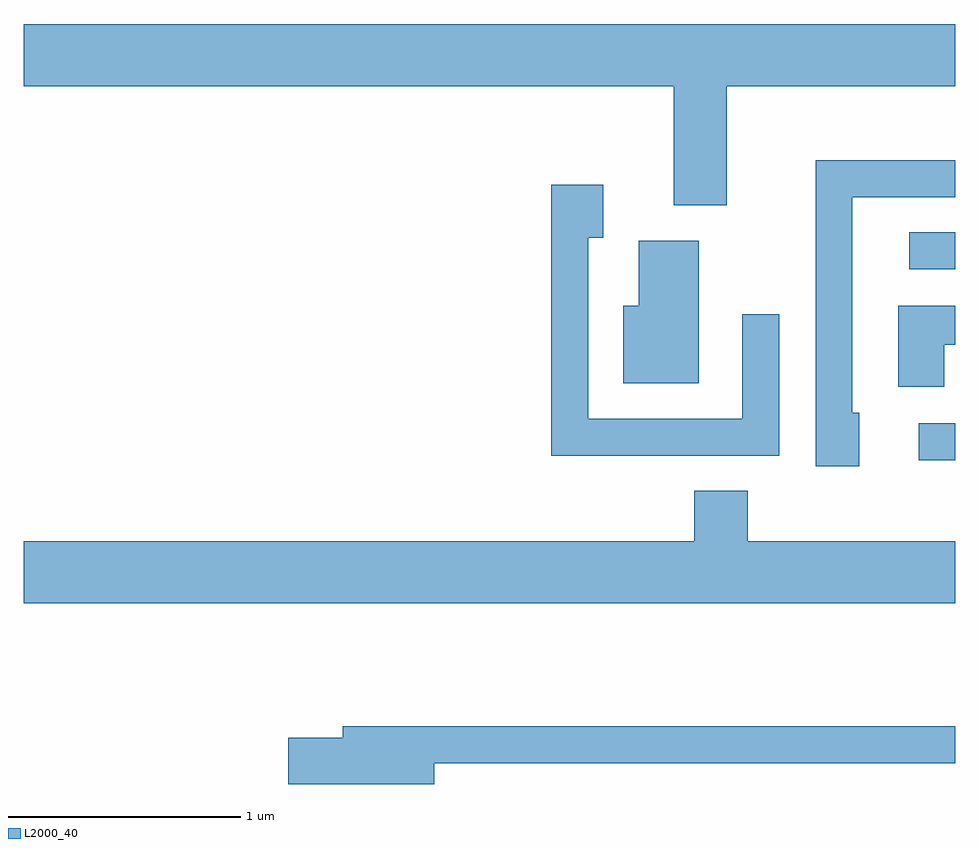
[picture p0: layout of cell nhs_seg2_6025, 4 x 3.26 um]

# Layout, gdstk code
import gdstk
lib = gdstk.Library(unit=1e-6, precision=1e-09)
def R(c, l, rs):  # rectangles x0, y0, x1, y1
    for r in rs: c.add(gdstk.rectangle(r[:2], r[2:], *l))
def P(c, l, *ps):  # polygons
    for p in ps: c.add(gdstk.Polygon(p, *l))
L2000_40 = (2000, 40)

nhs_seg2_6025 = lib.new_cell('nhs_seg2_6025')
R(nhs_seg2_6025, L2000_40, [(367.453,993.431,367.611,993.589), (367.413,994.251,367.611,994.409)])
P(nhs_seg2_6025, L2000_40, [(366.629,995.036),(367.611,995.036),(367.611,995.304),(363.611,995.304),(363.611,995.036),(366.401,995.036),(366.401,994.526),(366.629,994.526)],
  [(367.199,993.634),(367.169,993.634),(367.169,994.561),(367.611,994.561),(367.611,994.719),(367.011,994.719),(367.011,993.406),(367.199,993.406)],
  [(366.854,994.058),(366.696,994.058),(366.696,993.609),(366.034,993.609),(366.034,994.386),(366.099,994.386),(366.099,994.614),(365.876,994.614),(365.876,993.451),(366.854,993.451)],
  [(366.509,994.374),(366.251,994.374),(366.251,994.094),(366.186,994.094),(366.186,993.761),(366.509,993.761)],
  [(367.564,993.926),(367.611,993.926),(367.611,994.094),(367.366,994.094),(367.366,993.746),(367.564,993.746)],
  [(367.611,993.084),(366.719,993.084),(366.719,993.299),(366.491,993.299),(366.491,993.084),(363.611,993.084),(363.611,992.816),(367.611,992.816)],
  [(365.374,992.131),(367.611,992.131),(367.611,992.289),(364.981,992.289),(364.981,992.239),(364.746,992.239),(364.746,992.041),(365.374,992.041)])

lib.write_gds('nhs_seg2_6025.gds')
